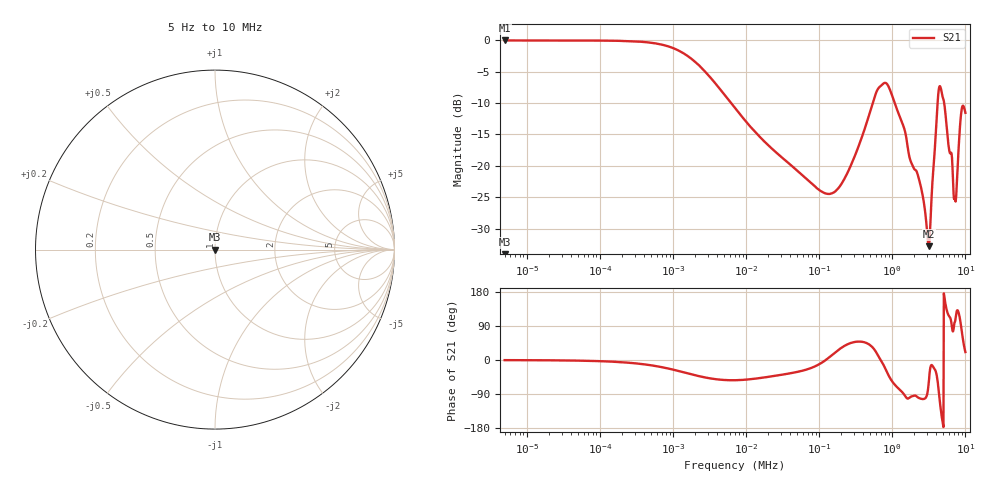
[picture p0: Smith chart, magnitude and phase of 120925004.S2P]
!Agilent Technologies,E5061B,MY49204007,A.02.12
!Date: Fri Sep 12 09:50:46 2025
!Data & Calibration Information:
!Freq	S11:SOLT2(OFF)	S21:SOLT2(OFF)	S12:SOLT2(OFF)	S22:SOLT2(OFF)
# Hz S dB R 50
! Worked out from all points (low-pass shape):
!   1041 points, 5 Hz to 10 MHz, reference 50 ohm
!   highest |S21| = -0.04 dB at 5 Hz (marker M1); lowest = -32.8 dB at 3.135 MHz (marker M2)
!   |S21| within 3 dB of the highest: start of sweep to 1.828 kHz
!   lowest |S11| = - dB at 5 Hz (marker M3), VSWR 1.00, Z = 50 + j0 ohm
!   |S11| at or under -10 dB: start of sweep to end of sweep
!   S12 and S22 are empty: the file has one direction only
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5  -200.00 0.0  -0.04 -0.3  -200.00 0.0  -200.00 0.0
56.522  -200.00 0.0  -0.05 -1.8  -200.00 0.0  -200.00 0.0
632.897  -200.00 0.0  -0.58 -17.2  -200.00 0.0  -200.00 0.0
1929.818  -200.00 0.0  -3.26 -39.3  -200.00 0.0  -200.00 0.0
7154.49  -200.00 0.0  -10.88 -53.3  -200.00 0.0  -200.00 0.0
80111.67  -200.00 0.0  -22.88 -20.1  -200.00 0.0  -200.00 0.0
189469.2  -200.00 0.0  -23.36 28.6  -200.00 0.0  -200.00 0.0
374577.9  -200.00 0.0  -15.80 48.3  -200.00 0.0  -200.00 0.0
536083.3  -200.00 0.0  -10.13 33.7  -200.00 0.0  -200.00 0.0
720704  -200.00 0.0  -7.13 -5.2  -200.00 0.0  -200.00 0.0
893075.1  -200.00 0.0  -7.41 -41.1  -200.00 0.0  -200.00 0.0
1506114  -200.00 0.0  -14.68 -95.5  -200.00 0.0  -200.00 0.0
2436971  -200.00 0.0  -23.13 -102.0  -200.00 0.0  -200.00 0.0
3135378  -200.00 0.0  -32.79 -64.4  -200.00 0.0  -200.00 0.0
3317680  -200.00 0.0  -29.28 -20.0  -200.00 0.0  -200.00 0.0
3999130  -200.00 0.0  -13.50 -35.3  -200.00 0.0  -200.00 0.0
4441770  -200.00 0.0  -7.31 -104.4  -200.00 0.0  -200.00 0.0
4884409  -200.00 0.0  -9.04 -163.8  -200.00 0.0  -200.00 0.0
5424920  -200.00 0.0  -12.58 141.0  -200.00 0.0  -200.00 0.0
7168058  -200.00 0.0  -25.24 99.9  -200.00 0.0  -200.00 0.0
8798700  -200.00 0.0  -11.40 84.9  -200.00 0.0  -200.00 0.0
1e7  -200.00 0.0  -11.56 21.0  -200.00 0.0  -200.00 0.0
